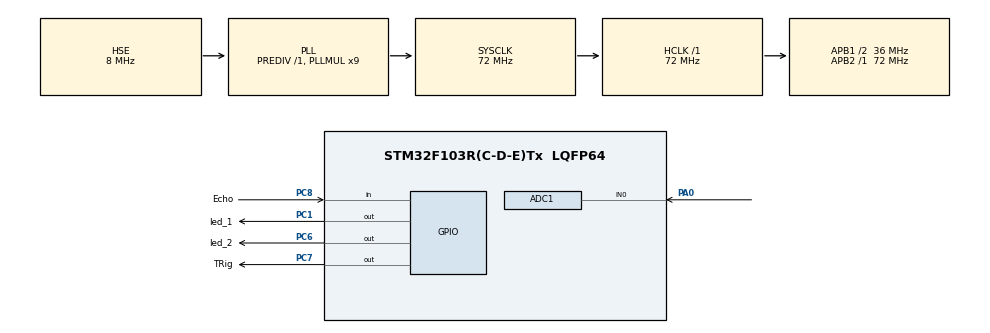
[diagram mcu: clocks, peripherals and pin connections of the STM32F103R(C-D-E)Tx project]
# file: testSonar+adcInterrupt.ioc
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ADC1.Channel-0\#ChannelRegularConversion=ADC_CHANNEL_0
ADC1.ContinuousConvMode=DISABLE
ADC1.DataAlign=ADC_DATAALIGN_RIGHT
ADC1.NbrOfConversionFlag=1
ADC1.Rank-0\#ChannelRegularConversion=1
ADC1.SamplingTime-0\#ChannelRegularConversion=ADC_SAMPLETIME_1CYCLE_5
ADC1.master=1
Dma.ADC1.0.Direction=DMA_PERIPH_TO_MEMORY
Dma.ADC1.0.Instance=DMA1_Channel1
Dma.ADC1.0.MemDataAlignment=DMA_MDATAALIGN_HALFWORD
Dma.ADC1.0.MemInc=DMA_MINC_ENABLE
Dma.ADC1.0.Mode=DMA_CIRCULAR
Dma.ADC1.0.PeriphDataAlignment=DMA_PDATAALIGN_HALFWORD
Dma.ADC1.0.PeriphInc=DMA_PINC_DISABLE
Dma.ADC1.0.Priority=DMA_PRIORITY_LOW
Dma.Request0=ADC1
Mcu.Family=STM32F1
Mcu.Name=STM32F103R(C-D-E)Tx
Mcu.Package=LQFP64
NVIC.ADC1_2_IRQn=true\:0\:0\:false\:false\:true\:true
NVIC.DMA1_Channel1_IRQn=true\:0\:0\:false\:false\:true\:false
NVIC.PriorityGroup=NVIC_PRIORITYGROUP_4
PA0-WKUP.Signal=ADCx_IN0
PA13.Mode=Serial_Wire
PA13.Signal=SYS_JTMS-SWDIO
PA14.Mode=Serial_Wire
PA14.Signal=SYS_JTCK-SWCLK
PC1.GPIO_Label=led_1
PC1.GPIO_Speed=GPIO_SPEED_FREQ_HIGH
PC1.Signal=GPIO_Output
PC6.GPIO_Label=led_2
PC6.GPIO_Speed=GPIO_SPEED_FREQ_HIGH
PC6.Signal=GPIO_Output
PC7.GPIO_Label=TRig
PC7.GPIO_ModeDefaultOutputPP=GPIO_MODE_OUTPUT_PP
PC7.GPIO_Speed=GPIO_SPEED_FREQ_HIGH
PC7.Signal=GPIO_Output
PC8.GPIO_Label=Echo
PC8.GPIO_PuPd=GPIO_NOPULL
PC8.Signal=GPIO_Input
PD0-OSC_IN.Mode=HSE-External-Oscillator
PD0-OSC_IN.Signal=RCC_OSC_IN
PD1-OSC_OUT.Mode=HSE-External-Oscillator
PD1-OSC_OUT.Signal=RCC_OSC_OUT
ProjectManager.HeapSize=0x200
ProjectManager.StackSize=0x400
ProjectManager.TargetToolchain=MDK-ARM V5
RCC.ADCPresc=RCC_ADCPCLK2_DIV6
RCC.AHBFreq_Value=72000000
RCC.APB1CLKDivider=RCC_HCLK_DIV2
RCC.APB1Freq_Value=36000000
RCC.APB1TimFreq_Value=72000000
RCC.APB2Freq_Value=72000000
RCC.APB2TimFreq_Value=72000000
RCC.HCLKFreq_Value=72000000
RCC.PLLMUL=RCC_PLL_MUL9
RCC.PLLSourceVirtual=RCC_PLLSOURCE_HSE
RCC.SYSCLKFreq_VALUE=72000000
RCC.SYSCLKSource=RCC_SYSCLKSOURCE_PLLCLK
RCC.USBFreq_Value=72000000
SH.ADCx_IN0.0=ADC1_IN0,IN0
TIM2.Period=0xffff-1
TIM2.Prescaler=72-1
VP_TIM2_VS_ClockSourceINT.Mode=Internal
board=testSonar+adcInterrupt

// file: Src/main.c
#include "main.h"
#include "stm32f1xx_hal.h"

ADC_HandleTypeDef hadc1;
DMA_HandleTypeDef hdma_adc1;

TIM_HandleTypeDef htim2;

/* USER CODE BEGIN PV */
/* Private variables ---------------------------------------------------------*/
volatile uint32_t adc;
volatile uint32_t local_time = 0;
volatile uint32_t sensor_time = 0;
/* USER CODE END PV */

void SystemClock_Config(void);
static void MX_GPIO_Init(void);
static void MX_DMA_Init(void);
static void MX_ADC1_Init(void);
static void MX_TIM2_Init(void);

/* USER CODE BEGIN PFP */
/* Private function prototypes -----------------------------------------------*/
void delay (uint32_t us){
__HAL_TIM_SET_COUNTER(&htim2,0);
	while ( (__HAL_TIM_GET_COUNTER(&htim2)) <us);
}
uint32_t getSonar (void) {
local_time = 0;
HAL_GPIO_WritePin(GPIOC,GPIO_PIN_7,GPIO_PIN_RESET);
delay(2);

HAL_GPIO_WritePin(GPIOC, GPIO_PIN_7, GPIO_PIN_SET);
delay(10);
HAL_GPIO_WritePin(GPIOC,GPIO_PIN_7,GPIO_PIN_RESET);
while(!(HAL_GPIO_ReadPin(GPIOC, GPIO_PIN_8)));
while(HAL_GPIO_ReadPin(GPIOC, GPIO_PIN_8)){
local_time++;
delay(1);
}
return local_time;
}
/* USER CODE END PFP */

int main(void)
{

  /* MCU Configuration----------------------------------------------------------*/

  /* Reset of all peripherals, Initializes the Flash interface and the Systick. */
  HAL_Init();

  /* Configure the system clock */
  SystemClock_Config();

  /* Initialize all configured peripherals */
  MX_GPIO_Init();
  MX_DMA_Init();
  MX_ADC1_Init();
  MX_TIM2_Init();
	//HAL_ADC_Start_IT(&hadc1);
	HAL_TIM_Base_Start(&htim2);

  /* Infinite loop */
  /* USER CODE BEGIN WHILE */
  while (1)
  {

		HAL_GPIO_TogglePin(led_1_GPIO_Port,led_1_Pin);
		HAL_Delay(100);
		HAL_GPIO_TogglePin(led_2_GPIO_Port,led_2_Pin);
		HAL_Delay(110);
		//HAL_ADC_Start_IT(&hadc1);

  }
  /* USER CODE END 3 */

}

/** System Clock Configuration
*/
//--------------------------------------ngat ADC--------------------------------------//
void HAL_ADC_ConvCpltCallback(ADC_HandleTypeDef* hadc)
{
	HAL_ADC_Start(&hadc1);
 if(hadc->Instance==hadc1.Instance)
 {
	 if (HAL_ADC_GetValue(&hadc1) >3000){
	adc= HAL_ADC_GetValue(hadc);
	HAL_GPIO_WritePin(GPIOC, GPIO_PIN_6,GPIO_PIN_SET);
	HAL_GPIO_WritePin(led_1_GPIO_Port,led_1_Pin,GPIO_PIN_RESET);
	//HAL_ADC_Start_IT(&hadc1);
}
 else {
	 HAL_GPIO_WritePin(GPIOC,GPIO_PIN_6,GPIO_PIN_RESET);
	HAL_ADC_Stop_IT(&hadc1);
	adc = 0;
 }
}
 }
//------------------------------------------------------------------------------------//

void SystemClock_Config(void)
{

  RCC_OscInitTypeDef RCC_OscInitStruct;
  RCC_ClkInitTypeDef RCC_ClkInitStruct;
  RCC_PeriphCLKInitTypeDef PeriphClkInit;

    /**Initializes the CPU, AHB and APB busses clocks
    */
  RCC_OscInitStruct.OscillatorType = RCC_OSCILLATORTYPE_HSE;
  RCC_OscInitStruct.HSEState = RCC_HSE_ON;
  RCC_OscInitStruct.HSEPredivValue = RCC_HSE_PREDIV_DIV1;
  RCC_OscInitStruct.HSIState = RCC_HSI_ON;
  RCC_OscInitStruct.PLL.PLLState = RCC_PLL_ON;
  RCC_OscInitStruct.PLL.PLLSource = RCC_PLLSOURCE_HSE;
  RCC_OscInitStruct.PLL.PLLMUL = RCC_PLL_MUL9;
  if (HAL_RCC_OscConfig(&RCC_OscInitStruct) != HAL_OK)
  {
    _Error_Handler(__FILE__, __LINE__);
  }

    /**Initializes the CPU, AHB and APB busses clocks
    */
  RCC_ClkInitStruct.ClockType = RCC_CLOCKTYPE_HCLK|RCC_CLOCKTYPE_SYSCLK
                              |RCC_CLOCKTYPE_PCLK1|RCC_CLOCKTYPE_PCLK2;
  RCC_ClkInitStruct.SYSCLKSource = RCC_SYSCLKSOURCE_PLLCLK;
  RCC_ClkInitStruct.AHBCLKDivider = RCC_SYSCLK_DIV1;
  RCC_ClkInitStruct.APB1CLKDivider = RCC_HCLK_DIV2;
  RCC_ClkInitStruct.APB2CLKDivider = RCC_HCLK_DIV1;

  if (HAL_RCC_ClockConfig(&RCC_ClkInitStruct, FLASH_LATENCY_2) != HAL_OK)
  {
    _Error_Handler(__FILE__, __LINE__);
  }

  PeriphClkInit.PeriphClockSelection = RCC_PERIPHCLK_ADC;
  PeriphClkInit.AdcClockSelection = RCC_ADCPCLK2_DIV6;
  if (HAL_RCCEx_PeriphCLKConfig(&PeriphClkInit) != HAL_OK)
  {
    _Error_Handler(__FILE__, __LINE__);
  }

    /**Configure the Systick interrupt time
    */
  HAL_SYSTICK_Config(HAL_RCC_GetHCLKFreq()/1000);

    /**Configure the Systick
    */
  HAL_SYSTICK_CLKSourceConfig(SYSTICK_CLKSOURCE_HCLK);

  /* SysTick_IRQn interrupt configuration */
  HAL_NVIC_SetPriority(SysTick_IRQn, 0, 0);
}

/* ADC1 init function */
static void MX_ADC1_Init(void)
{

  ADC_ChannelConfTypeDef sConfig;

    /**Common config
    */
  hadc1.Instance = ADC1;
  hadc1.Init.ScanConvMode = ADC_SCAN_DISABLE;
  hadc1.Init.ContinuousConvMode = ENABLE;
  hadc1.Init.DiscontinuousConvMode = DISABLE;
  hadc1.Init.ExternalTrigConv = ADC_SOFTWARE_START;
  hadc1.Init.DataAlign = ADC_DATAALIGN_RIGHT;
  hadc1.Init.NbrOfConversion = 1;
  if (HAL_ADC_Init(&hadc1) != HAL_OK)
  {
    _Error_Handler(__FILE__, __LINE__);
  }

    /**Configure Regular Channel
    */
  sConfig.Channel = ADC_CHANNEL_0;
  sConfig.Rank = 1;
  sConfig.SamplingTime = ADC_SAMPLETIME_1CYCLE_5;
  if (HAL_ADC_ConfigChannel(&hadc1, &sConfig) != HAL_OK)
  {
    _Error_Handler(__FILE__, __LINE__);
  }

}

/* TIM2 init function */
static void MX_TIM2_Init(void)
{

  TIM_ClockConfigTypeDef sClockSourceConfig;
  TIM_MasterConfigTypeDef sMasterConfig;

  htim2.Instance = TIM2;
  htim2.Init.Prescaler = 72-1;
  htim2.Init.CounterMode = TIM_COUNTERMODE_UP;
  htim2.Init.Period = 0xffff-1;
  htim2.Init.ClockDivision = TIM_CLOCKDIVISION_DIV1;
  htim2.Init.AutoReloadPreload = TIM_AUTORELOAD_PRELOAD_DISABLE;
  if (HAL_TIM_Base_Init(&htim2) != HAL_OK)
  {
    _Error_Handler(__FILE__, __LINE__);
  }

  sClockSourceConfig.ClockSource = TIM_CLOCKSOURCE_INTERNAL;
  if (HAL_TIM_ConfigClockSource(&htim2, &sClockSourceConfig) != HAL_OK)
  {
    _Error_Handler(__FILE__, __LINE__);
  }

  sMasterConfig.MasterOutputTrigger = TIM_TRGO_RESET;
  sMasterConfig.MasterSlaveMode = TIM_MASTERSLAVEMODE_DISABLE;
  if (HAL_TIMEx_MasterConfigSynchronization(&htim2, &sMasterConfig) != HAL_OK)
  {
    _Error_Handler(__FILE__, __LINE__);
  }

}

static void MX_DMA_Init(void)
{
  /* DMA controller clock enable */
  __HAL_RCC_DMA1_CLK_ENABLE();

  /* DMA interrupt init */
  /* DMA1_Channel1_IRQn interrupt configuration */
  HAL_NVIC_SetPriority(DMA1_Channel1_IRQn, 0, 0);
  HAL_NVIC_EnableIRQ(DMA1_Channel1_IRQn);

}

/** Configure pins as
        * Analog
        * Input
        * Output
        * EVENT_OUT
        * EXTI
*/
static void MX_GPIO_Init(void)
{

  GPIO_InitTypeDef GPIO_InitStruct;

  /* GPIO Ports Clock Enable */
  __HAL_RCC_GPIOD_CLK_ENABLE();
  __HAL_RCC_GPIOC_CLK_ENABLE();
  __HAL_RCC_GPIOA_CLK_ENABLE();

  /*Configure GPIO pin Output Level */
  HAL_GPIO_WritePin(GPIOC, led_1_Pin|led_2_Pin|TRig_Pin, GPIO_PIN_RESET);

  /*Configure GPIO pins : led_1_Pin led_2_Pin TRig_Pin */
  GPIO_InitStruct.Pin = led_1_Pin|led_2_Pin|TRig_Pin;
  GPIO_InitStruct.Mode = GPIO_MODE_OUTPUT_PP;
  GPIO_InitStruct.Speed = GPIO_SPEED_FREQ_HIGH;
  HAL_GPIO_Init(GPIOC, &GPIO_InitStruct);

  /*Configure GPIO pin : Echo_Pin */
  GPIO_InitStruct.Pin = Echo_Pin;
  GPIO_InitStruct.Mode = GPIO_MODE_INPUT;
  GPIO_InitStruct.Pull = GPIO_NOPULL;
  HAL_GPIO_Init(Echo_GPIO_Port, &GPIO_InitStruct);

}

void _Error_Handler(char * file, int line)
{
  while(1)
  {
  }
}

/************************ (C) COPYRIGHT STMicroelectronics *****END OF FILE****/
